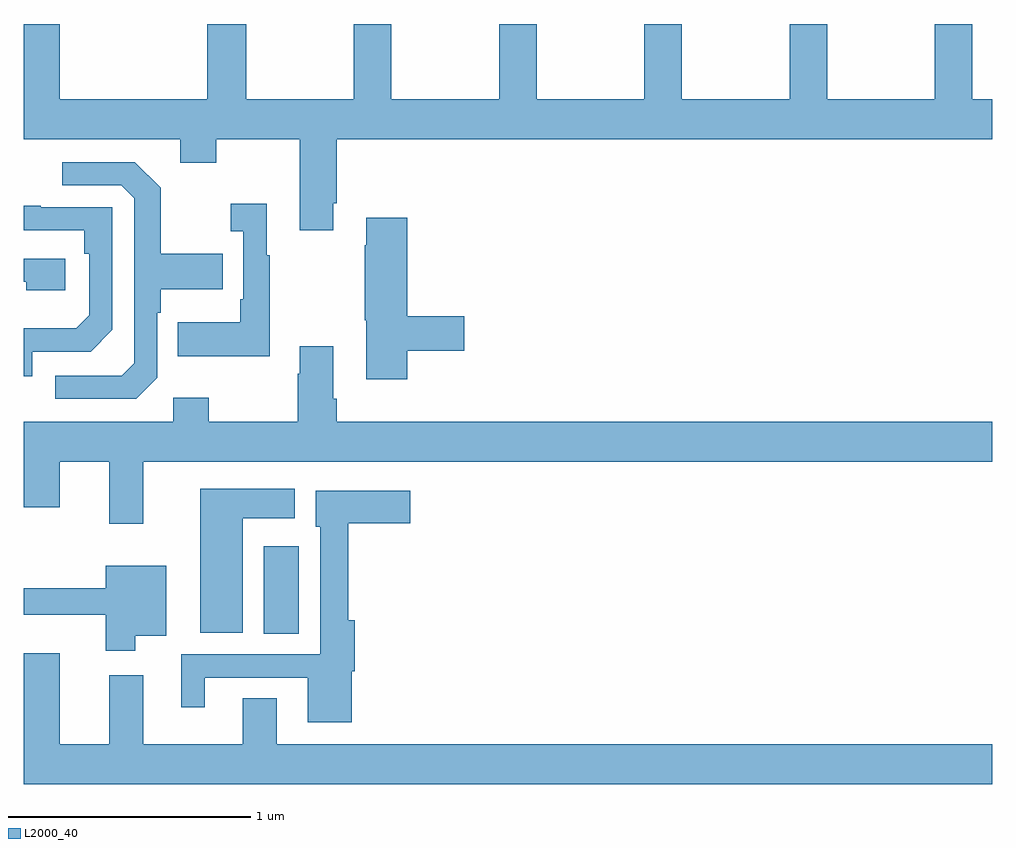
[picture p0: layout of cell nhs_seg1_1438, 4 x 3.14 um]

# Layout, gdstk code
import gdstk
lib = gdstk.Library(unit=1e-6, precision=1e-09)
def R(c, l, rs):  # rectangles x0, y0, x1, y1
    for r in rs: c.add(gdstk.rectangle(r[:2], r[2:], *l))
def P(c, l, *ps):  # polygons
    for p in ps: c.add(gdstk.Polygon(p, *l))
L2000_40 = (2000, 40)

nhs_seg1_1438 = lib.new_cell('nhs_seg1_1438')
R(nhs_seg1_1438, L2000_40, [(189.992,557.68,190.135,558.043)])
P(nhs_seg1_1438, L2000_40, [(190.279,559.459),(190.292,559.459),(190.292,559.724),(193,559.724),(193,559.888),(192.918,559.888),(192.918,560.199),(192.763,560.199),(192.763,559.888),(192.318,559.888),(192.318,560.199),(192.163,560.199),(192.163,559.888),(191.718,559.888),(191.718,560.199),(191.563,560.199),(191.563,559.888),(191.118,559.888),(191.118,560.199),(190.963,560.199),(190.963,559.888),(190.518,559.888),(190.518,560.199),(190.363,560.199),(190.363,559.888),(189.918,559.888),(189.918,560.199),(189.758,560.199),(189.758,559.888),(189.148,559.888),(189.148,560.199),(189,560.199),(189,559.724),(189.647,559.724),(189.647,559.625),(189.795,559.625),(189.795,559.724),(190.139,559.724),(190.139,559.347),(190.279,559.347)],
  [(189.552,558.738),(189.552,559.007),(189.565,559.007),(189.565,559.103),(189.821,559.103),(189.821,559.251),(189.565,559.251),(189.565,559.523),(189.459,559.629),(189.159,559.629),(189.159,559.533),(189.402,559.533),(189.456,559.479),(189.456,558.798),(189.405,558.747),(189.129,558.747),(189.129,558.651),(189.465,558.651)],
  [(190.015,559.243),(190.003,559.243),(190.003,559.456),(189.855,559.456),(189.855,559.343),(189.906,559.343),(189.906,559.063),(189.894,559.063),(189.894,558.967),(189.637,558.967),(189.637,558.827),(190.015,558.827)],
  [(189.036,558.846),(189.276,558.846),(189.366,558.936),(189.366,559.443),(189.071,559.443),(189.071,559.448),(189,559.448),(189,559.347),(189.25,559.347),(189.25,559.25),(189.27,559.25),(189.27,558.996),(189.217,558.943),(189,558.943),(189,558.744),(189.036,558.744)],
  [(190.583,558.85),(190.819,558.85),(190.819,558.992),(190.583,558.992),(190.583,559.399),(190.415,559.399),(190.415,559.286),(190.408,559.286),(190.408,558.975),(190.415,558.975),(190.415,558.732),(190.583,558.732)],
  [(189.172,559.23),(189,559.23),(189,559.134),(189.011,559.134),(189.011,559.1),(189.172,559.1)],
  [(189.493,558.392),(193,558.392),(193,558.556),(190.292,558.556),(190.292,558.652),(190.279,558.652),(190.279,558.868),(190.139,558.868),(190.139,558.755),(190.132,558.755),(190.132,558.556),(189.765,558.556),(189.765,558.655),(189.618,558.655),(189.618,558.556),(189,558.556),(189,558.204),(189.148,558.204),(189.148,558.392),(189.353,558.392),(189.353,558.135),(189.493,558.135)],
  [(189.904,558.158),(190.12,558.158),(190.12,558.28),(189.728,558.28),(189.728,557.684),(189.904,557.684)],
  [(190.354,557.526),(190.367,557.526),(190.367,557.737),(190.34,557.737),(190.34,558.137),(190.597,558.137),(190.597,558.271),(190.205,558.271),(190.205,558.123),(190.224,558.123),(190.224,557.595),(189.65,557.595),(189.65,557.376),(189.748,557.376),(189.748,557.499),(190.172,557.499),(190.172,557.315),(190.354,557.315)],
  [(189.46,557.672),(189.589,557.672),(189.589,557.962),(189.338,557.962),(189.338,557.869),(189,557.869),(189,557.759),(189.338,557.759),(189.338,557.61),(189.46,557.61)],
  [(193,557.224),(190.045,557.224),(190.045,557.414),(189.905,557.414),(189.905,557.224),(189.493,557.224),(189.493,557.509),(189.353,557.509),(189.353,557.224),(189.148,557.224),(189.148,557.599),(189,557.599),(189,557.06),(193,557.06)])

lib.write_gds('nhs_seg1_1438.gds')
